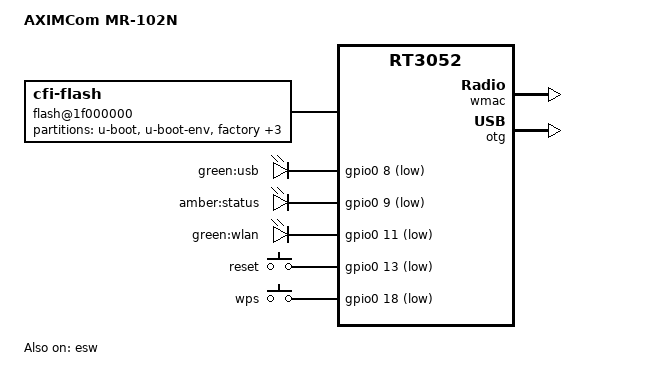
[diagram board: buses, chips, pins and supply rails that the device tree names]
#include "rt3050.dtsi"

#include <dt-bindings/gpio/gpio.h>
#include <dt-bindings/input/input.h>

/ {
	compatible = "aximcom,mr-102n", "ralink,rt3052-soc";
	model = "AXIMCom MR-102N";

	aliases {
		led-boot = &led_status;
		led-failsafe = &led_status;
		led-running = &led_status;
		led-upgrade = &led_status;
	};

	flash@1f000000 {
		compatible = "cfi-flash";
		reg = <0x1f000000 0x800000>;
		bank-width = <2>;
		device-width = <2>;

		partitions {
			compatible = "fixed-partitions";
			#address-cells = <1>;
			#size-cells = <1>;

			partition@0 {
				label = "u-boot";
				reg = <0x0 0x30000>;
				read-only;
			};

			partition@30000 {
				label = "u-boot-env";
				reg = <0x30000 0x10000>;
				read-only;
			};

			factory: partition@40000 {
				label = "factory";
				reg = <0x40000 0x10000>;
				read-only;
			};

			partition@50000 {
				compatible = "denx,uimage";
				label = "firmware";
				reg = <0x50000 0x790000>;
			};

			partition@7e0000 {
				label = "nvram";
				reg = <0x7e0000 0x10000>;
			};

			partition@7f0000 {
				label = "nvram_backup";
				reg = <0x7f0000 0x10000>;
			};
		};
	};

	leds {
		compatible = "gpio-leds";

		usb {
			label = "green:usb";
			gpios = <&gpio0 8 GPIO_ACTIVE_LOW>;
			trigger-sources = <&otg_port1>;
			linux,default-trigger = "usbport";
		};

		led_status: status {
			label = "amber:status";
			gpios = <&gpio0 9 GPIO_ACTIVE_LOW>;
		};

		wlan {
			label = "green:wlan";
			gpios = <&gpio0 11 GPIO_ACTIVE_LOW>;
		};
	};

	keys {
		compatible = "gpio-keys-polled";
		poll-interval = <20>;

		reset {
			label = "reset";
			gpios = <&gpio0 13 GPIO_ACTIVE_LOW>;
			linux,code = <KEY_RESTART>;
		};

		wps {
			label = "wps";
			gpios = <&gpio0 18 GPIO_ACTIVE_LOW>;
			linux,code = <KEY_WPS_BUTTON>;
		};
	};
};

&state_default {
	gpio {
		groups = "i2c", "jtag", "rgmii", "mdio", "uartf";
		function = "gpio";
	};
};

&ethernet {
	mtd-mac-address = <&factory 0x4>;
};

&esw {
	status = "okay";
	mediatek,portmap = <0x2f>;
};

&wmac {
	ralink,mtd-eeprom = <&factory 0x0>;
};

&otg {
	status = "okay";
};
